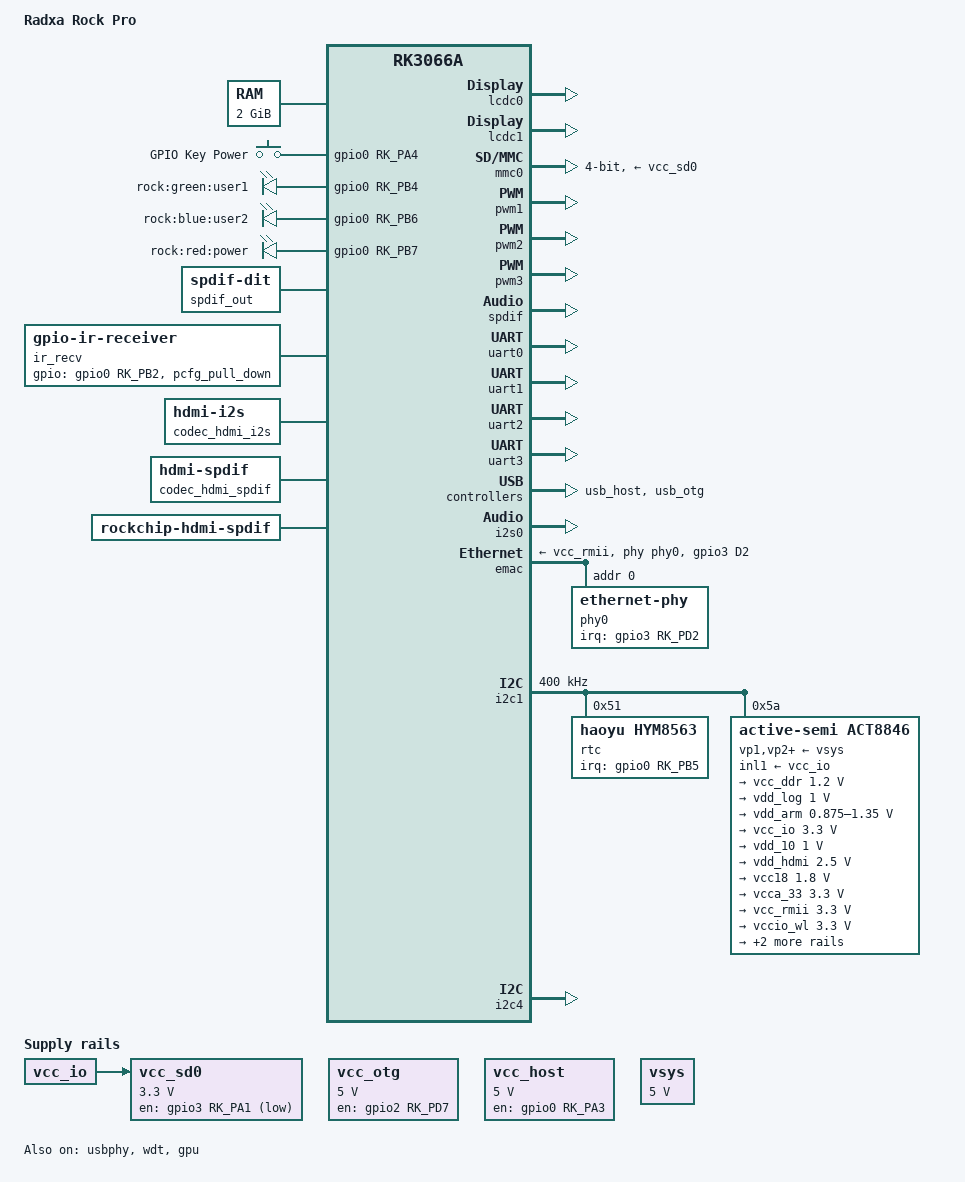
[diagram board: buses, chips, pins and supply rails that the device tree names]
/dts-v1/;
#include <dt-bindings/i2c/i2c.h>
#include <dt-bindings/input/input.h>
#include <dt-bindings/rkfb/rk_fb.h>
#include "rk3188.dtsi"
/ {
	model = "Radxa Rock Pro";
	compatible = "radxa,rock", "rockchip,rk3188", "rockchip,rk3066", "rockchip,rk3066a";

	aliases {
		lcdc0 = &lcdc0;
		lcdc1 = &lcdc1;
	};

	memory@60000000 {
		device_type = "memory";
		reg = <0x60000000 0x80000000>;
	};

	gpio-keys {
		compatible = "gpio-keys";
		autorepeat;

		power {
			//gpios = <&gpio0 RK_PA4 GPIO_ACTIVE_LOW>;
			gpios = <&gpio0 RK_PA4 &pcfg_pull_down>;
			linux,code = <KEY_POWER>;
			label = "GPIO Key Power";
			linux,input-type = <1>;
			wakeup-source;
			debounce-interval = <100>;
		};
	};

	gpio-leds {
		compatible = "gpio-leds";

		green: led-0 {
			label = "rock:green:user1";
			//gpios = <&gpio0 RK_PB4 GPIO_ACTIVE_LOW>;
			gpios = <&gpio0 RK_PB4 &pcfg_pull_down>;
			default-state = "off";
		};

		blue: led-1 {
			label = "rock:blue:user2";
			//gpios = <&gpio0 RK_PB6 GPIO_ACTIVE_LOW>;
			gpios = <&gpio0 RK_PB6 &pcfg_pull_down>;
			default-state = "off";
		};

		sleep: led-2 {
			label = "rock:red:power";
			//gpios = <&gpio0 RK_PB7 GPIO_ACTIVE_HIGH>;
			gpios = <&gpio0 RK_PB7 &pcfg_pull_up>;
			default-state = "off";
		};
	};

	sound {
		compatible = "simple-audio-card";
		simple-audio-card,name = "SPDIF";

		simple-audio-card,dai-link@1 {
			cpu { sound-dai = <&spdif>; };
			codec { sound-dai = <&spdif_out>; };
		};
	};

	spdif_out: spdif-out {
		compatible = "linux,spdif-dit";
		#sound-dai-cells = <0>;
	};

	ir_recv: gpio-ir-receiver {
		compatible = "gpio-ir-receiver";
		//gpios = <&gpio0 RK_PB2 GPIO_ACTIVE_LOW>;
		gpios = <&gpio0 RK_PB2 &pcfg_pull_down>;
		pinctrl-names = "default";
		pinctrl-0 = <&ir_recv_pin>;
	};

	vcc_otg: usb-otg-regulator {
		compatible = "regulator-fixed";
		enable-active-high;
		//gpio = <&gpio2 RK_PD7 GPIO_ACTIVE_HIGH>;
		gpio = <&gpio2 RK_PD7 &pcfg_pull_up>;
		pinctrl-names = "default";
		pinctrl-0 = <&otg_vbus_drv>;
		regulator-name = "otg-vbus";
		regulator-min-microvolt = <5000000>;
		regulator-max-microvolt = <5000000>;
		regulator-always-on;
		regulator-boot-on;
	};

	vcc_sd0: sdmmc-regulator {
		compatible = "regulator-fixed";
		regulator-name = "sdmmc-supply";
		regulator-min-microvolt = <3300000>;
		regulator-max-microvolt = <3300000>;
		//gpio = <&gpio3 RK_PA1 GPIO_ACTIVE_LOW>;
		gpio = <&gpio3 RK_PA1 &pcfg_pull_down>;
		pinctrl-names = "default";
		pinctrl-0 = <&sdmmc_pwr>;
		startup-delay-us = <100000>;
		vin-supply = <&vcc_io>;
	};

	vcc_host: usb-host-regulator {
		compatible = "regulator-fixed";
		enable-active-high;
		//gpio = <&gpio0 RK_PA3 GPIO_ACTIVE_HIGH>;
		gpio = <&gpio0 RK_PA3 &pcfg_pull_up>;
		pinctrl-names = "default";
		pinctrl-0 = <&host_vbus_drv>;
		regulator-name = "host-pwr";
		regulator-min-microvolt = <5000000>;
		regulator-max-microvolt = <5000000>;
		regulator-always-on;
		regulator-boot-on;
	};

	vsys: vsys-regulator {
		compatible = "regulator-fixed";
		regulator-name = "vsys";
		regulator-min-microvolt = <5000000>;
		regulator-max-microvolt = <5000000>;
		regulator-boot-on;
	};

	codec_hdmi_i2s: codec-hdmi-i2s {
		compatible = "hdmi-i2s";
	};

	codec_hdmi_spdif: codec-hdmi-spdif {
		compatible = "hdmi-spdif";
	};

	rockchip-hdmi-i2s {
		compatible = "rockchip-hdmi-i2s";
		dais {
			dai0 {
				audio-codec = <&codec_hdmi_i2s>;
				audio-controller = <&i2s0>;
				format = "i2s";
				//continuous-clock;
				//bitclock-inversion;
				//frame-inversion;
				//bitclock-master;
				//frame-master;
			};
		};
	};

	rockchip-hdmi-spdif {
		compatible = "rockchip-hdmi-spdif";
	};

	rockchip-rk1000 {
		compatible = "rockchip-rk1000";
		dais {
			dai0 {
				audio-codec = <&rk1000_codec>;
				audio-controller = <&i2s0>;
				format = "i2s";
			};
		};
	};

	fb: fb{
		compatible = "rockchip,rk-fb";
		rockchip,disp-mode = <ONE_DUAL>;
		//rockchip,disp-mode = <DUAL>;
		//rockchip,disp-mode = <NO_DUAL>;
		//rockchip,uboot-logo-on = <1>;
		//rockchip,disp-policy = <DISPLAY_POLICY_BOX>;
	};
	rk_screen: rk_screen{
		compatible = "rockchip,screen";
		//display-timings = <&disp_timings>;
		#include <dt-bindings/display/screen-timing/lcd-box.dtsi>
	};

	lcdc0: lcdc0@1010c000 {
		compatible = "rockchip,rk3188-lcdc";
		rockchip,prop = <PRMRY>;
		reg = <0x1010c000 0x2000>;
		interrupts = <GIC_SPI 9 IRQ_TYPE_LEVEL_HIGH>;
		//clocks = <&clk_gates6 0>, <&dclk_lcdc0>, <&clk_gates6 1>, <&sclk_lcdc0>, <&pd_vop>, <&clk_cpll>;
		//clock-names = "aclk_lcdc", "dclk_lcdc", "hclk_lcdc", "sclk_lcdc", "pd_lcdc", "sclk_pll";

		clocks = <&cru ACLK_LCDC0>, <&cru DCLK_LCDC0>, <&cru HCLK_LCDC0>;
		clock-names = "aclk_lcdc0", "dclk_lcdc0", "hclk_lcdc0";

		rockchip,iommu-enabled = <1>;
		status = "okay";

		/*pinctrl-names = "default", "gpio";
		pinctrl-0 = <&lcdc0_lcdc>;
		pinctrl-1 = <&lcdc0_gpio>;*/

		rockchip,fb-win-map = <FB_DEFAULT_ORDER>;
		//rockchip,fb-win-map = <FB0_WIN0_FB1_WIN1_FB2_WIN2>;
		power_ctr0: power_ctr {
			rockchip,debug = <1>;
			lcd_en0: lcd_en {
				rockchip,power_type = <GPIO>;
				//gpios = <&gpio3 GPIO_C4 GPIO_ACTIVE_HIGH>;
				//gpios = <&gpio0 GPIO_B0 &pcfg_pull_none>;
				//gpios = <&gpio0 RK_PB0 &pcfg_pull_none>;
				gpios = <&gpio0 RK_PB0 &pcfg_pull_down>;
				//gpios = <0 RK_PB0 RK_FUNC_GPIO &pcfg_pull_none>;
				rockchip,delay = <10>;
			};
			lcd_cs0: lcd_cs {
				rockchip,power_type = <GPIO>;
				//gpios = <&gpio2 GPIO_D6 GPIO_ACTIVE_HIGH>;
				//gpios = <&gpio2 RK_PD6 GPIO_ACTIVE_HIGH>;
				gpios = <&gpio2 RK_PD6 &pcfg_pull_up>;
				rockchip,delay = <10>;
			};
			/*lcd_rst:lcd_rst {
				rockchip,power_type = <REGULATOR>;
				rockchip,delay = <5>;
			};*/
		};
	};

	lcdc1: lcdc1@1010e000 {
		compatible = "rockchip,rk3188-lcdc";
		rockchip,prop = <PRMRY>;
		reg = <0x1010e000 0x2000>;
		interrupts = <GIC_SPI 9 IRQ_TYPE_LEVEL_HIGH>;
		//clocks = <&clk_gates6 0>, <&dclk_lcdc1>, <&clk_gates6 1>, <&sclk_lcdc1>, <&pd_vop>, <&clk_cpll>;
		//clock-names = "aclk_lcdc", "dclk_lcdc", "hclk_lcdc", "sclk_lcdc", "pd_lcdc", "sclk_pll";

		clocks = <&cru ACLK_LCDC1>, <&cru DCLK_LCDC1>, <&cru HCLK_LCDC1>;
		clock-names = "aclk_lcdc1", "dclk_lcdc1", "hclk_lcdc1";

		rockchip,iommu-enabled = <1>;
		//status = "disabled";
		status = "okay";

		/*pinctrl-names = "default", "gpio";
		pinctrl-0 = <&lcdc1_lcdc>;
		pinctrl-1 = <&lcdc1_gpio>;*/

		rockchip,fb-win-map = <FB_DEFAULT_ORDER>;
		//rockchip,fb-win-map = <FB0_WIN0_FB1_WIN1_FB2_WIN2>;
		power_ctr1: power_ctr {
			rockchip,debug = <1>;
			rockchip,mirror = <NO_MIRROR>;
			lcd_en1: lcd_en {
				rockchip,power_type = <GPIO>;
				//gpios = <&gpio3 GPIO_C4 GPIO_ACTIVE_HIGH>;
				//gpios = <&gpio0 GPIO_B0 &pcfg_pull_none>;
				//gpios = <&gpio0 RK_PB0 &pcfg_pull_none>;
				gpios = <&gpio0 RK_PB0 &pcfg_pull_down>;
				//gpios = <0 RK_PB0 RK_FUNC_GPIO &pcfg_pull_none>;
				rockchip,delay = <10>;
			};
			lcd_cs1:lcd_cs {
				rockchip,power_type = <GPIO>;
				//gpios = <&gpio2 GPIO_D6 GPIO_ACTIVE_HIGH>;
				gpios = <&gpio2 RK_PD6 &pcfg_pull_up>;
				rockchip,delay = <10>;
			};
			/*lcd_rst:lcd_rst {
				rockchip,power_type = <REGULATOR>;
				rockchip,delay = <5>;
			};*/
		};
	};

	//3128
};

&cpu0 {
	cpu-supply = <&vdd_arm>;
};

&cpu1 {
	cpu-supply = <&vdd_arm>;
};

&cpu2 {
	cpu-supply = <&vdd_arm>;
};

&cpu3 {
	cpu-supply = <&vdd_arm>;
};

&mmc0 {
	status = "okay";
	pinctrl-names = "default";
	pinctrl-0 = <&sd0_clk>, <&sd0_cmd>, <&sd0_cd>, <&sd0_bus4>;
	vmmc-supply = <&vcc_sd0>;

	bus-width = <4>;
	cap-mmc-highspeed;
	cap-sd-highspeed;
	disable-wp;
};

&pwm1 {
	status = "okay";
};

&pwm2 {
	status = "okay";
};

&pwm3 {
	status = "okay";
};

&spdif {
	status = "okay";
};

&uart0 {
	status = "okay";
};

&uart1 {
	status = "okay";
};

&uart2 {
	status = "okay";
};

&uart3 {
	status = "okay";
};

&usbphy {
	status = "okay";
};

&usb_host {
	status = "okay";
};

&usb_otg {
	status = "okay";
};

&wdt {
	status = "okay";
};

/*&i2s {
	status = "okay";
};*/

&i2s0 {
	status = "okay";
};

&emac {
	status = "okay";

	pinctrl-names = "default";
	pinctrl-0 = <&emac_xfer>, <&emac_mdio>, <&phy_int>;

	phy = <&phy0>;
	phy-supply = <&vcc_rmii>;

	phy0: ethernet-phy@0 {
		reg = <0>;
		interrupt-parent = <&gpio3>;
		interrupts = <RK_PD2 IRQ_TYPE_LEVEL_LOW>;
	};
};

&i2c1 {
	status = "okay";
	clock-frequency = <400000>;

	rtc@51 {
		compatible = "haoyu,hym8563";
		reg = <0x51>;
		interrupt-parent = <&gpio0>;
		interrupts = <RK_PB5 IRQ_TYPE_EDGE_FALLING>;
		pinctrl-names = "default";
		pinctrl-0 = <&rtc_int>;
		#clock-cells = <0>;
		clock-output-names = "xin32k";
	};

	act8846: act8846@5a {
		compatible = "active-semi,act8846";
		reg = <0x5a>;
		status = "okay";
		system-power-controller;

		pinctrl-names = "default";
		pinctrl-0 = <&act8846_dvs0_ctl>;

		vp1-supply = <&vsys>;
		vp2-supply = <&vsys>;
		vp3-supply = <&vsys>;
		vp4-supply = <&vsys>;
		inl1-supply = <&vcc_io>;
		inl2-supply = <&vsys>;
		inl3-supply = <&vsys>;

		regulators {
			vcc_ddr: REG1 {
				regulator-name = "VCC_DDR";
				regulator-min-microvolt = <1200000>;
				regulator-max-microvolt = <1200000>;
				regulator-always-on;
			};

			vdd_log: REG2 {
				regulator-name = "VDD_LOG";
				regulator-min-microvolt = <1000000>;
				regulator-max-microvolt = <1000000>;
				regulator-always-on;
			};

			vdd_arm: REG3 {
				regulator-name = "VDD_ARM";
				regulator-min-microvolt = <875000>;
				regulator-max-microvolt = <1350000>;
				regulator-always-on;
			};

			vcc_io: REG4 {
				regulator-name = "VCC_IO";
				regulator-min-microvolt = <3300000>;
				regulator-max-microvolt = <3300000>;
				regulator-always-on;
			};

			vdd_10: REG5 {
				regulator-name = "VDD_10";
				regulator-min-microvolt = <1000000>;
				regulator-max-microvolt = <1000000>;
				regulator-always-on;
			};

			vdd_hdmi: REG6 {
				regulator-name = "VDD_HDMI";
				regulator-min-microvolt = <2500000>;
				regulator-max-microvolt = <2500000>;
				regulator-always-on;
			};

			vcc18: REG7 {
				regulator-name = "VCC_18";
				regulator-min-microvolt = <1800000>;
				regulator-max-microvolt = <1800000>;
				regulator-always-on;
			};

			vcca_33: REG8 {
				regulator-name = "VCCA_33";
				regulator-min-microvolt = <3300000>;
				regulator-max-microvolt = <3300000>;
				regulator-always-on;
			};

			vcc_rmii: REG9 {
				regulator-name = "VCC_RMII";
				regulator-min-microvolt = <3300000>;
				regulator-max-microvolt = <3300000>;
			};

			vccio_wl: REG10 {
				regulator-name = "VCCIO_WL";
				regulator-min-microvolt = <3300000>;
				regulator-max-microvolt = <3300000>;
				regulator-always-on;
			};

			vcc_18: REG11 {
				regulator-name = "VCC18_IO";
				regulator-min-microvolt = <1800000>;
				regulator-max-microvolt = <1800000>;
				regulator-always-on;
			};

			vcc28: REG12 {
				regulator-name = "VCC_28";
				regulator-min-microvolt = <2800000>;
				regulator-max-microvolt = <2800000>;
				regulator-always-on;
			};
		};
	};
};

&i2c4 {
	status = "okay";
	rk1000_control@40 {
		compatible = "rockchip,rk1000_control", "rockchip,rk1000-ctl";
		/*reg = <0x40>;
		//gpio-reset = <&gpio7 GPIO_C5 GPIO_ACTIVE_LOW>;
		//gpio-reset = <&gpio7 GPIO_C5 &pcfg_pull_down>;
		gpio-reset = <&gpio3 RK_PB7 &pcfg_pull_down>;
		#clocks = <&clk_i2s>, <&clk_i2s_out>;
		#clock-names = "i2s_clk","i2s_mclk";
		#pinctrl-names = "default";
		#pinctrl-0 = <&i2s_mclk>;
		status = "okay";*/
		status = "disabled";
	};
	rk1000_tve@42 {
		compatible = "rockchip,rk1000_tve", "rockchip,rk1000-tve";
		/*reg = <0x42>;
		#rockchip,source = <0>; //0: LCDC0; 1: LCDC1
		#rockchip,prop = <PRMRY>;//<EXTEND>
		rockchip,source = <0>; //0: LCDC0; 1: LCDC1
		rockchip,prop = <EXTEND>;//<>
		status = "okay";*/
		status = "disabled";
	};
	rk1000_codec: rk1000_codec@60 {
		compatible = "rockchip,rk1000_codec";
		/*reg = <0x60>;
		//spk_ctl_io = <&gpio7 GPIO_A5 GPIO_ACTIVE_LOW>;
		spk_ctl_io = <&gpio7 GPIO_A5 &pcfg_pull_down>;
		boot_depop = <1>;
		pa_enable_time = <5000>;
		status = "okay";*/
		status = "disabled";
	};
};

&pinctrl {
	pcfg_output_low: pcfg-output-low {
		output-low;
	};

	act8846 {
		act8846_dvs0_ctl: act8846-dvs0-ctl {
			rockchip,pins = <3 RK_PD3 RK_FUNC_GPIO &pcfg_output_low>;
		};
	};

	hym8563 {
		rtc_int: rtc-int {
			rockchip,pins = <0 RK_PA0 RK_FUNC_GPIO &pcfg_pull_up>;
		};
	};

	lan8720a  {
		phy_int: phy-int {
			rockchip,pins = <3 RK_PD2 RK_FUNC_GPIO &pcfg_pull_up>;
		};
	};

	ir-receiver {
		ir_recv_pin: ir-recv-pin {
			rockchip,pins = <0 RK_PB2 RK_FUNC_GPIO &pcfg_pull_none>;
		};
	};

	sd0 {
		sdmmc_pwr: sdmmc-pwr {
			rockchip,pins = <3 RK_PA1 RK_FUNC_GPIO &pcfg_pull_none>;
		};
	};

	usb {
		host_vbus_drv: host-vbus-drv {
			rockchip,pins = <0 RK_PA3 RK_FUNC_GPIO &pcfg_pull_none>;
		};
		otg_vbus_drv: otg-vbus-drv {
			rockchip,pins = <2 RK_PD7 RK_FUNC_GPIO &pcfg_pull_none>;
		};
	};

	display {
		lcd_cs: lcd-cs {
			rockchip,pins = <3 RK_PD6 RK_FUNC_GPIO &pcfg_pull_none>;
		};

		lcd_en: lcd-en {
			rockchip,pins = <0 RK_PB0 RK_FUNC_GPIO &pcfg_pull_none>;
		};
	};
};


&gpu {
	assigned-clocks = <&cru ACLK_GPU>;
	assigned-clock-rates = <300000000>;
	mali-supply = <&vdd_log>;
	status = "okay";
};
